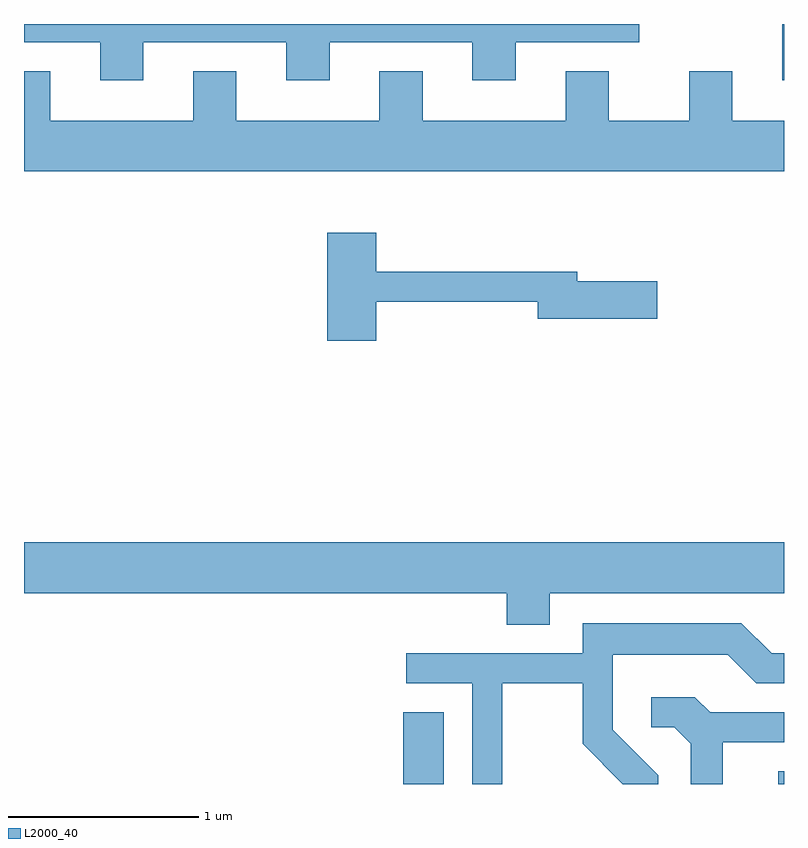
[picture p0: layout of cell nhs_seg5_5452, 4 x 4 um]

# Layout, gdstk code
import gdstk
lib = gdstk.Library(unit=1e-6, precision=1e-09)
def R(c, l, rs):  # rectangles x0, y0, x1, y1
    for r in rs: c.add(gdstk.rectangle(r[:2], r[2:], *l))
def P(c, l, *ps):  # polygons
    for p in ps: c.add(gdstk.Polygon(p, *l))
L2000_40 = (2000, 40)

nhs_seg5_5452 = lib.new_cell('nhs_seg5_5452')
R(nhs_seg5_5452, L2000_40, [(349.606,1398.072,349.819,1398.449), (351.581,1398.072,351.611,1398.139), (351.601,1401.776,351.611,1402.072)])
P(nhs_seg5_5452, L2000_40, [(348.239,1401.976),(348.991,1401.976),(348.991,1401.776),(349.219,1401.776),(349.219,1401.976),(349.971,1401.976),(349.971,1401.776),(350.199,1401.776),(350.199,1401.976),(350.849,1401.976),(350.849,1402.072),(347.611,1402.072),(347.611,1401.976),(348.011,1401.976),(348.011,1401.776),(348.239,1401.776)],
  [(351.611,1401.564),(351.339,1401.564),(351.339,1401.824),(351.111,1401.824),(351.111,1401.564),(350.689,1401.564),(350.689,1401.824),(350.461,1401.824),(350.461,1401.564),(349.709,1401.564),(349.709,1401.824),(349.481,1401.824),(349.481,1401.564),(348.729,1401.564),(348.729,1401.824),(348.501,1401.824),(348.501,1401.564),(347.749,1401.564),(347.749,1401.824),(347.611,1401.824),(347.611,1401.296),(351.611,1401.296)],
  [(349.464,1400.611),(350.316,1400.611),(350.316,1400.521),(350.944,1400.521),(350.944,1400.719),(350.524,1400.719),(350.524,1400.769),(349.464,1400.769),(349.464,1400.974),(349.206,1400.974),(349.206,1400.406),(349.464,1400.406)],
  [(350.379,1399.076),(351.611,1399.076),(351.611,1399.344),(347.611,1399.344),(347.611,1399.076),(350.151,1399.076),(350.151,1398.911),(350.379,1398.911)],
  [(350.129,1398.601),(350.551,1398.601),(350.551,1398.284),(350.763,1398.072),(350.949,1398.072),(350.949,1398.117),(350.709,1398.357),(350.709,1398.751),(351.314,1398.751),(351.464,1398.601),(351.611,1398.601),(351.611,1398.759),(351.547,1398.759),(351.387,1398.919),(350.551,1398.919),(350.551,1398.759),(349.623,1398.759),(349.623,1398.601),(349.971,1398.601),(349.971,1398.072),(350.129,1398.072)],
  [(351.289,1398.291),(351.611,1398.291),(351.611,1398.449),(351.222,1398.449),(351.142,1398.529),(350.913,1398.529),(350.913,1398.371),(351.034,1398.371),(351.121,1398.284),(351.121,1398.072),(351.289,1398.072)])

lib.write_gds('nhs_seg5_5452.gds')
